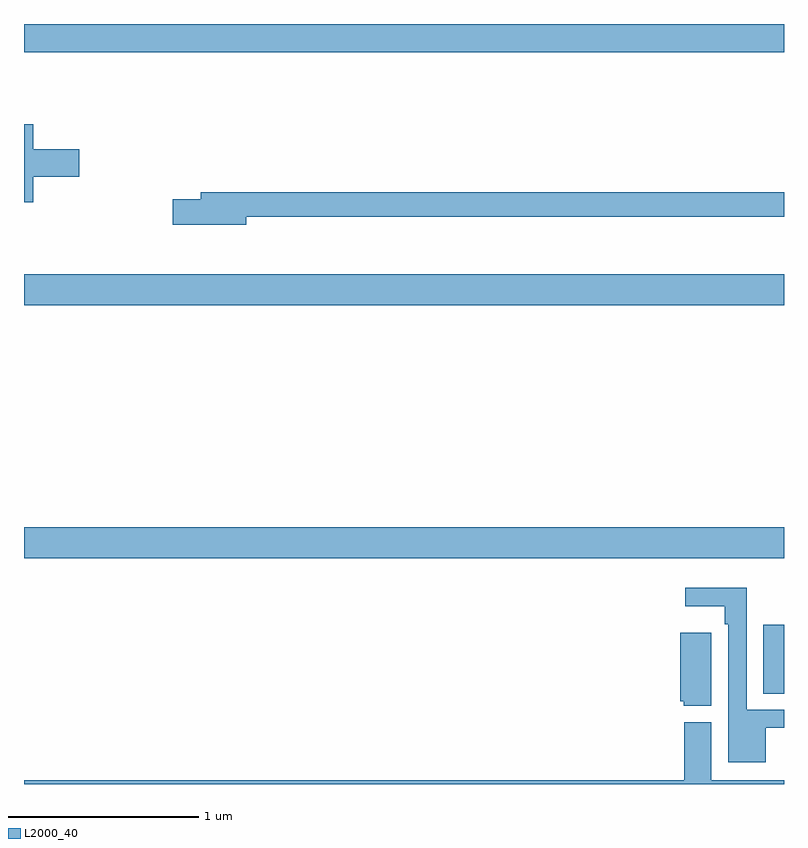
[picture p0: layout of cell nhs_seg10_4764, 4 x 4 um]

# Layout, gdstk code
import gdstk
lib = gdstk.Library(unit=1e-6, precision=1e-09)
def R(c, l, rs):  # rectangles x0, y0, x1, y1
    for r in rs: c.add(gdstk.rectangle(r[:2], r[2:], *l))
def P(c, l, *ps):  # polygons
    for p in ps: c.add(gdstk.Polygon(p, *l))
L2000_40 = (2000, 40)

nhs_seg10_4764 = lib.new_cell('nhs_seg10_4764')
R(nhs_seg10_4764, L2000_40, [(388.892,1260.976,389,1261.339), (385,1261.688,389,1261.852), (385,1263.02,389,1263.184), (385,1264.352,389,1264.5)])
P(nhs_seg10_4764, L2000_40, [(385.048,1263.695),(385.291,1263.695),(385.291,1263.842),(385.048,1263.842),(385.048,1263.973),(385,1263.973),(385,1263.563),(385.048,1263.563)],
  [(386.17,1263.486),(389,1263.486),(389,1263.614),(385.931,1263.614),(385.931,1263.578),(385.782,1263.578),(385.782,1263.443),(386.17,1263.443)],
  [(388.903,1260.795),(389,1260.795),(389,1260.891),(388.803,1260.891),(388.803,1261.534),(388.479,1261.534),(388.479,1261.436),(388.687,1261.436),(388.687,1261.34),(388.707,1261.34),(388.707,1260.614),(388.903,1260.614)],
  [(388.618,1261.297),(388.454,1261.297),(388.454,1260.936),(388.473,1260.936),(388.473,1260.911),(388.618,1260.911)],
  [(389,1260.52),(388.618,1260.52),(388.618,1260.826),(388.475,1260.826),(388.475,1260.52),(385,1260.52),(385,1260.5),(389,1260.5)])

lib.write_gds('nhs_seg10_4764.gds')
